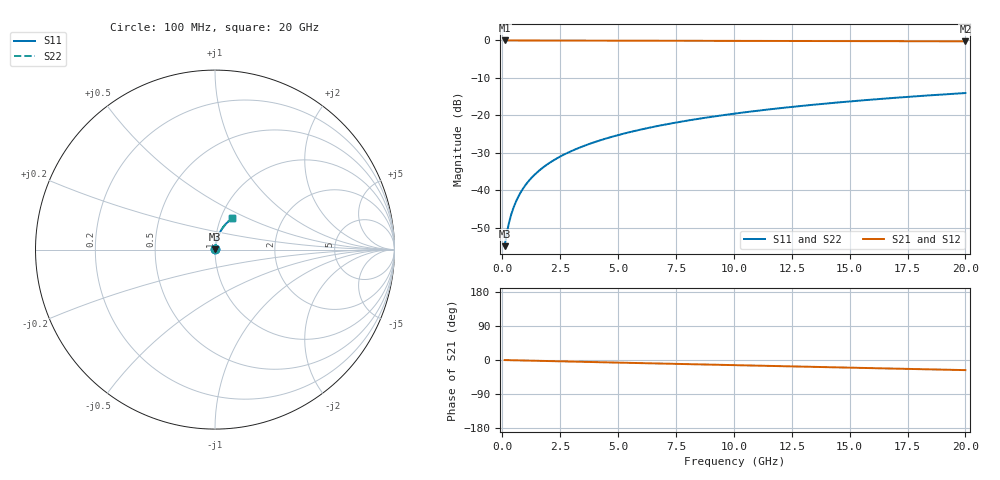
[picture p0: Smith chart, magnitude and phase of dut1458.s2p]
! Touchstone file exported from HFSS 2026.1.0
!  File:  C:/ffzhzh/LocalFiles/Ansys_Project_Files/temp_train_BSMRDL_1458_1783180865_22436.aedt
!  Generated:  12:02:19 AM Jul  5, 2026
!  Design:  BSMRDL
!  Project:  temp_train_BSMRDL_1458_1783180865_22436
! Variables:
!  h_bsmrdl = 5.37um
!  h_ox = 20um
!  h_rdl = 5um
!  h_sub = 80um
!  h_tmrdl = 5um
!  h_tsv = 80um
!  h_via = 3um
!  l_bsmrdl = 406.24um
!  l_sub = 806.24um
!  l_tmrdl = 200um
!  m_sub = 200um
!  pitch = 44.19um
!  r_tsv = 6um
!  s_tmrdl = 10um
!  w_bsmrdl = 25.01um
!  w_sub = 500um
!  w_tmrdl = 12um
!  x_tsv_center1 = 206um
!  x_tsv_center2 = 637.25um
!  x_tsv_center3 = 849.25um
!  x_tsv_center4 = 1280.5um
!  x_tsv_center5 = 1492.5um
!  x_tsv_center6 = 1923.75um
# GHz S MA R 50.000000
! Terminal data exported
! Port[1] = BSM_RDL1_1_T1
! Port[2] = BSM_RDL1_1_T2
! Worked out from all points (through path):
!   200 points, 100 MHz to 20 GHz, reference 50 ohm
!   highest |S21| = -0.01 dB at 100 MHz (marker M1); lowest = -0.2 dB at 20 GHz (marker M2)
!   group delay of S21, straight-line fit = 3.7 ps
!   lowest |S11| = -54.9 dB at 100 MHz (marker M3), VSWR 1.00, Z = 50.1 + j0.128 ohm
!   |S11| at or under -10 dB: start of sweep to end of sweep
!   |S22| runs from -54.9 to -14.0 dB; largest |S21 - S12| = 2.4e-15
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0.1  0.001794 45.4  0.9987 -0.1  0.9987 -0.1  0.001794 45.4
! Gamma 0 0 0 0
! Port Impedance 50 0 50 0
0.2  0.002734 63.9  0.9986 -0.3  0.9986 -0.3  0.002733 63.9
0.3  0.003798 71.6  0.9985 -0.4  0.9985 -0.4  0.003797 71.6
0.4  0.004907 75.5  0.9985 -0.6  0.9985 -0.6  0.004905 75.5
0.5  0.006034 77.8  0.9984 -0.7  0.9984 -0.7  0.006032 77.8
0.6  0.007169 79.2  0.9984 -0.9  0.9984 -0.9  0.007168 79.2
0.8  0.009444 80.8  0.9983 -1.1  0.9983 -1.1  0.009442 80.8
1.1  0.01284 81.7  0.9981 -1.5  0.9981 -1.5  0.01284 81.7
1.3  0.01508 81.9  0.998 -1.8  0.998 -1.8  0.01508 81.9
1.5  0.0173 82.0  0.9979 -2.1  0.9979 -2.1  0.0173 82.0
1.8  0.0206 82.0  0.9977 -2.5  0.9977 -2.5  0.0206 82.0
2.1  0.02386 81.8  0.9975 -2.9  0.9975 -2.9  0.02386 81.8
2.7  0.03031 81.4  0.997 -3.8  0.997 -3.8  0.03031 81.4
3.5  0.0388 80.7  0.9963 -4.9  0.9963 -4.9  0.0388 80.7
4.2  0.04615 80.1  0.9956 -5.8  0.9956 -5.8  0.04615 80.1
5  0.05449 79.2  0.9948 -6.9  0.9948 -6.9  0.05449 79.2
6.8  0.073 77.2  0.9929 -9.3  0.9929 -9.3  0.073 77.2
8.3  0.08818 75.5  0.9912 -11.3  0.9912 -11.3  0.08818 75.5
10.1  0.1061 73.3  0.9889 -13.7  0.9889 -13.7  0.1061 73.3
13.4  0.1382 69.3  0.9842 -18.1  0.9842 -18.1  0.1382 69.3
16.7  0.169 65.2  0.9787 -22.4  0.9787 -22.4  0.169 65.2
20  0.1984 61.2  0.9726 -26.7  0.9726 -26.7  0.1984 61.2
